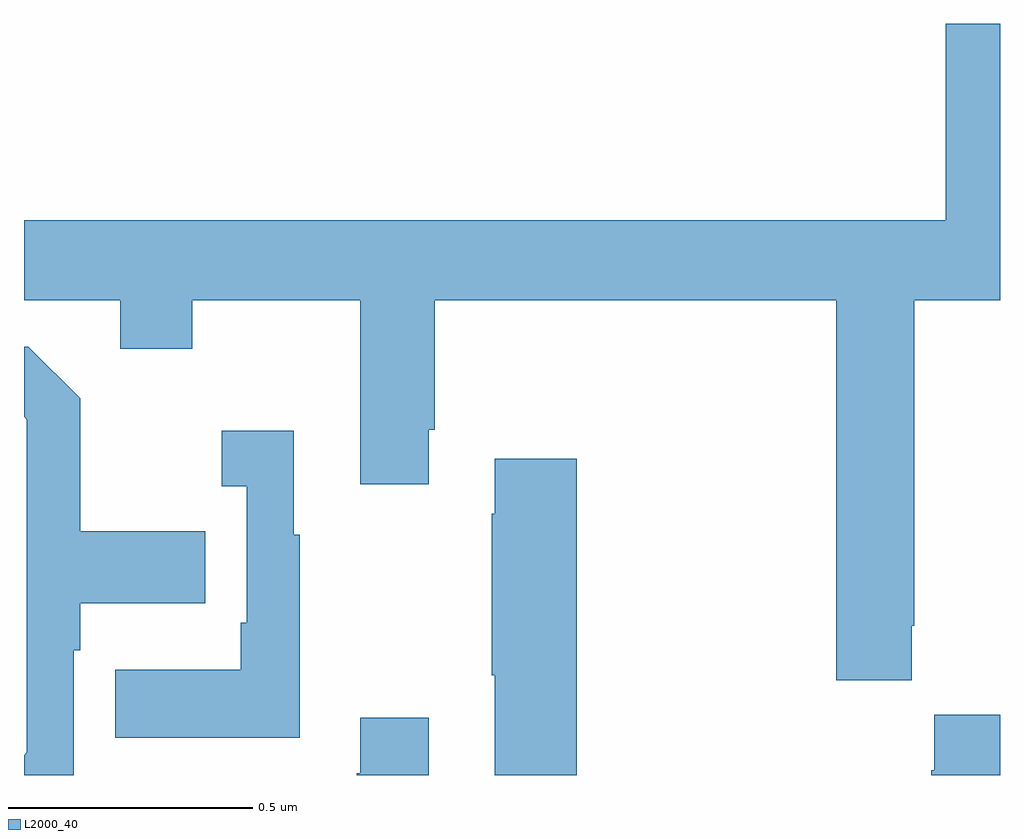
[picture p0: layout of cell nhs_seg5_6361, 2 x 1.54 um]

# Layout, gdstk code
import gdstk
lib = gdstk.Library(unit=1e-6, precision=1e-09)
def P(c, l, *ps):  # polygons
    for p in ps: c.add(gdstk.Polygon(p, *l))
L2000_40 = (2000, 40)

nhs_seg5_6361 = lib.new_cell('nhs_seg5_6361')
P(nhs_seg5_6361, L2000_40, [(195,844.772),(195.197,844.772),(195.197,844.673),(195.345,844.673),(195.345,844.772),(195.689,844.772),(195.689,844.395),(195.829,844.395),(195.829,844.507),(195.842,844.507),(195.842,844.772),(196.664,844.772),(196.664,843.993),(196.819,843.993),(196.819,844.105),(196.824,844.105),(196.824,844.772),(197,844.772),(197,845.338),(196.889,845.338),(196.889,844.936),(195,844.936)],
  [(195.102,844.055),(195.115,844.055),(195.115,844.151),(195.371,844.151),(195.371,844.299),(195.115,844.299),(195.115,844.571),(195.009,844.677),(195,844.677),(195,844.533),(195.006,844.527),(195.006,843.846),(195,843.84),(195,843.799),(195.102,843.799)],
  [(195.565,844.291),(195.553,844.291),(195.553,844.504),(195.405,844.504),(195.405,844.391),(195.456,844.391),(195.456,844.111),(195.444,844.111),(195.444,844.015),(195.187,844.015),(195.187,843.875),(195.565,843.875)],
  [(196.133,844.447),(195.965,844.447),(195.965,844.334),(195.958,844.334),(195.958,844.003),(195.965,844.003),(195.965,843.799),(196.133,843.799)],
  [(197,843.922),(196.865,843.922),(196.865,843.809),(196.859,843.809),(196.859,843.799),(197,843.799)],
  [(195.829,843.916),(195.689,843.916),(195.689,843.803),(195.682,843.803),(195.682,843.799),(195.829,843.799)])

lib.write_gds('nhs_seg5_6361.gds')
